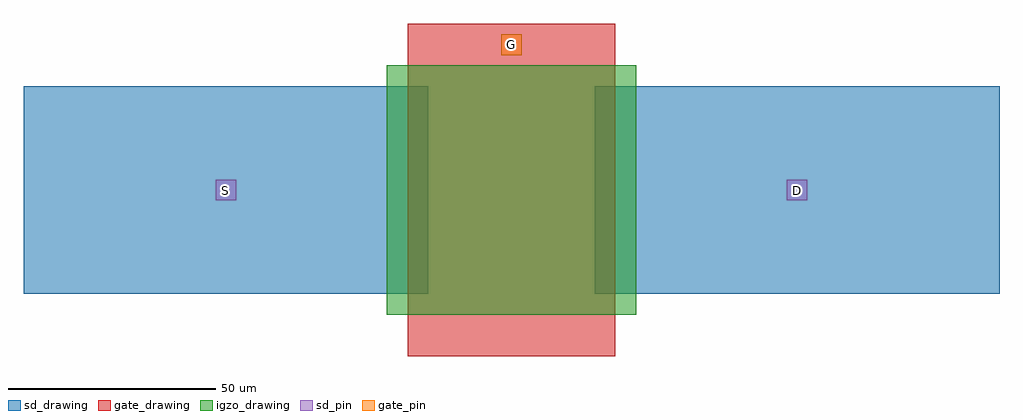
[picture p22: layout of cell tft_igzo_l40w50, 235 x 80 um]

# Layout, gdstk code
import gdstk
lib = gdstk.Library(unit=1e-6, precision=1e-09)
def R(c, l, rs):  # rectangles x0, y0, x1, y1
    for r in rs: c.add(gdstk.rectangle(r[:2], r[2:], *l))
gate_drawing = (2, 0)
gate_pin = (2, 10)
igzo_drawing = (4, 0)
sd_drawing = (6, 0)
sd_pin = (6, 10)

tft_igzo_l40w50 = lib.new_cell('tft_igzo_l40w50')
R(tft_igzo_l40w50, gate_drawing, [(-25,-40,25,40)])
R(tft_igzo_l40w50, gate_pin, [(-2.5,32.5,2.5,37.5)])
R(tft_igzo_l40w50, igzo_drawing, [(-30,-30,30,30)])
R(tft_igzo_l40w50, sd_drawing, [(-117.5,-25,-20,25), (20,-25,117.5,25)])
R(tft_igzo_l40w50, sd_pin, [(-71.25,-2.5,-66.25,2.5), (66.25,-2.5,71.25,2.5)])
tft_igzo_l40w50.add(gdstk.Label('S', (-68.75,0), layer=6, texttype=10))
tft_igzo_l40w50.add(gdstk.Label('D', (68.75,0), layer=6, texttype=10))
tft_igzo_l40w50.add(gdstk.Label('G', (0,35), layer=2, texttype=10))

lib.write_gds('tft_igzo_l40w50.gds')
